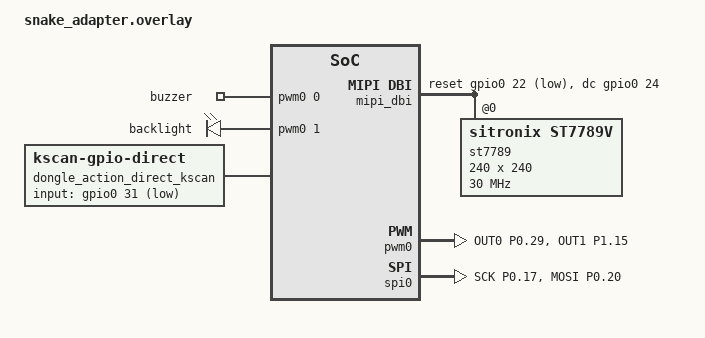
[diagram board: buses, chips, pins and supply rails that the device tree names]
#include <dt-bindings/zmk/matrix_transform.h>
#include <dt-bindings/zmk/keys.h>

/ {
    chosen {
        zephyr,display = &st7789;
		zephyr,buzzer = &buzzer;
		zephyr,backlight = &backlight;
    };

    behaviors {
        dongle_action_behavior: dongle_action_behavior {
            compatible = "zmk,behavior-dongle-action";
            #binding-cells = <0>;
        };
    };

	pwmbuzzer {
        compatible = "pwm-leds";
        buzzer: buzzer_pwm {
            pwms = <&pwm0 0 PWM_MSEC(10) PWM_POLARITY_NORMAL>;
        };
		backlight: backlight {
			pwms = <&pwm0 1 PWM_MSEC(1) PWM_POLARITY_NORMAL>; // Use PWM channel 1
		};
    };

    dongle_action_direct_kscan: dongle_action_direct_kscan {
        compatible = "zmk,kscan-gpio-direct";
	    input-gpios
	        = <&gpio0 31 (GPIO_ACTIVE_LOW | GPIO_PULL_UP)>
	        ;
    };

    dongle_action_sideband_behaviors {
        compatible = "zmk,kscan-sideband-behaviors";
        kscan = <&dongle_action_direct_kscan>;
		auto-enable;
        dongle_action_sideband: dongle_action_sideband {
            row = <0>;
            column = <0>;
            bindings = <&dongle_action_behavior>;
        };
    };
};

&pinctrl {
	spi0_default: spi0_default {
		group1 {
			psels = <NRF_PSEL(SPIM_SCK, 0, 17)>,<NRF_PSEL(SPIM_MOSI, 0, 20)>;
		};
	};

	spi0_sleep: spi0_sleep {
		group1 {
			psels = <NRF_PSEL(SPIM_SCK, 0, 17)>,<NRF_PSEL(SPIM_MOSI, 0, 20)>;
			low-power-enable;
		};
	};

    pwm0_default: pwm0_default {
        group1 {
            psels = <NRF_PSEL(PWM_OUT0, 0, 29)>, /* buzzer */
					<NRF_PSEL(PWM_OUT1, 1, 15)>; /* backlight */
        };
    };
    pwm0_sleep: pwm0_sleep {
        group1 {
            psels = <NRF_PSEL(PWM_OUT0, 0, 29)>, /* buzzer */
					<NRF_PSEL(PWM_OUT1, 1, 15)>; /* backlight */
            low-power-enable;
        };
    };
};

&pwm0 {
    status = "okay";
    pinctrl-0 = <&pwm0_default>;
    pinctrl-1 = <&pwm0_sleep>;
    pinctrl-names = "default", "sleep";
};

disp_spi: &spi0 {
	status = "okay";
	pinctrl-0 = <&spi0_default>;
	pinctrl-1 = <&spi0_sleep>;
	cs-gpios = <&gpio0 11 GPIO_ACTIVE_LOW>;
	pinctrl-names = "default", "sleep";
};

/ {
   mipi_dbi {
       compatible = "zephyr,mipi-dbi-spi";
       spi-dev = <&spi0>;
       dc-gpios = <&gpio0 24 GPIO_ACTIVE_HIGH>;
       reset-gpios = <&gpio0 22 GPIO_ACTIVE_LOW>;
       write-only;
       #address-cells = <1>;
       #size-cells = <0>;

       st7789: st7789v@0 {
           compatible = "sitronix,st7789v";
           mipi-max-frequency = <30000000>;
           mipi-mode = "MIPI_DBI_MODE_SPI_4WIRE";
           reg = <0>;
           width = <240>;
           height = <240>;
           x-offset = <0>;
           y-offset = <0>;
           vcom = <0x19>;
           gctrl = <0x35>;
           vrhs = <0x12>;
           vdvs = <0x20>;
           mdac = <0x00>;
           gamma = <0x01>;
           colmod = <0x05>;
           lcm = <0x2c>;
           porch-param = [ 0c 0c 00 33 33  ];
           cmd2en-param = [ 5a 69 02 01  ];
           pwctrl1-param = [ a4 a1  ];
           pvgam-param = [ D0 04 0D 11 13 2B 3F 54 4C 18 0D 0B 1F 23  ];
           nvgam-param = [ D0 04 0C 11 13 2C 3F 44 51 2F 1F 1F 20 23  ];
           ram-param = [ 00 F0  ];
           rgb-param = [ CD 08 14  ];
       };
   };
};

